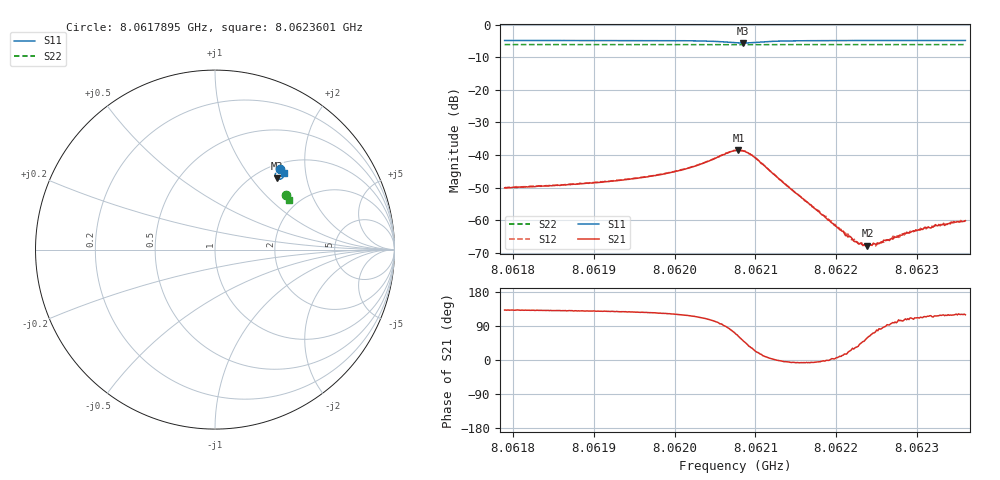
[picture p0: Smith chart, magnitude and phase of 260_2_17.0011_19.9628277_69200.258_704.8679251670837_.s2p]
#  HZ  S  RI  R  50.00
! Rohde & Schwarz Vector Network Analyzer
! Rohde-Schwarz,ZNB20-2Port,1311601062101988,3.16
! Created: UTC 3/20/2024, 11:03:45 PM
! freq[Hz]  re:S11  im:S11  re:S21  im:S21  re:S12  im:S12  re:S22  im:S22
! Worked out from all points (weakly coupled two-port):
!   401 points, 8.0617895 GHz to 8.0623601 GHz, reference 50 ohm
!   highest |S21| = -38.53 dB at 8.0620791 GHz (marker M1); lowest = -67.8 dB at 8.0622388 GHz (marker M2)
!   lowest |S11| = -5.6 dB at 8.0620848 GHz (marker M3), VSWR 3.22, Z = 61.3 + j67.5 ohm
!   |S11| at or under -10 dB: nowhere
!   |S22| runs from -6.1 to -6.1 dB; largest |S21 - S12| = 0.0009
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8.0617895e9  0.3632 0.4466  -0.00209 0.00233  -0.00195 0.00244  0.3957 0.3024
8.06188507e9  0.3704 0.4405  -0.0023 0.00279  -0.00216 0.00295  0.399 0.2977
8.06193357e9  0.3742 0.4366  -0.00251 0.00327  -0.00233 0.00342  0.4008 0.2953
8.06198064e9  0.3785 0.4308  -0.00275 0.00412  -0.00254 0.00432  0.4026 0.2926
8.06202628e9  0.3827 0.4195  -0.00283 0.00622  -0.00248 0.00639  0.4041 0.29
8.06207478e9  0.3587 0.3919  0.0039 0.011  0.00462 0.0108  0.4039 0.2868
8.06207906e9  0.3516 0.393  0.00549 0.0105  0.00616 0.0102  0.404 0.2868
8.06208476e9  0.3431 0.3982  0.00729 0.00904  0.00781 0.00857  0.4038 0.2868
8.06209047e9  0.3373 0.4063  0.00831 0.00702  0.00889 0.00654  0.4039 0.287
8.06209903e9  0.3358 0.4194  0.00839 0.00392  0.00865 0.00335  0.4044 0.2873
8.06213612e9  0.3561 0.4392  0.00361 -0.000288  0.00361 -0.000462  0.4067 0.2862
8.06217035e9  0.3669 0.4386  0.00159 -0.000178  0.00162 -0.000238  0.4083 0.2843
8.06221029e9  0.3736 0.4358  0.000593 0.000169  0.000626 0.000129  0.4098 0.2822
8.06222455e9  0.3756 0.4348  0.000391 0.000258  0.000409 0.000218  0.4104 0.2815
8.06223026e9  0.3761 0.4345  0.000322 0.000307  0.000359 0.000254  0.4103 0.2811
8.06223882e9  0.3772 0.4339  0.000209 0.000348  0.000259 0.00034  0.4107 0.2807
8.06224595e9  0.378 0.4335  0.000138 0.000407  0.00018 0.000404  0.4111 0.2804
8.06226592e9  0.3797 0.4321  -2.16e-05 0.000484  7.12e-06 0.0005  0.4117 0.2793
8.06228446e9  0.3816 0.4309  -0.000173 0.000602  -0.000132 0.000574  0.4124 0.2782
8.06230728e9  0.3832 0.4297  -0.000269 0.000665  -0.000289 0.000701  0.4131 0.277
8.0623458e9  0.3861 0.4274  -0.000458 0.000828  -0.000444 0.000795  0.4144 0.2751
8.06236006e9  0.3872 0.4266  -0.000479 0.000853  -0.000444 0.000858  0.415 0.2744
